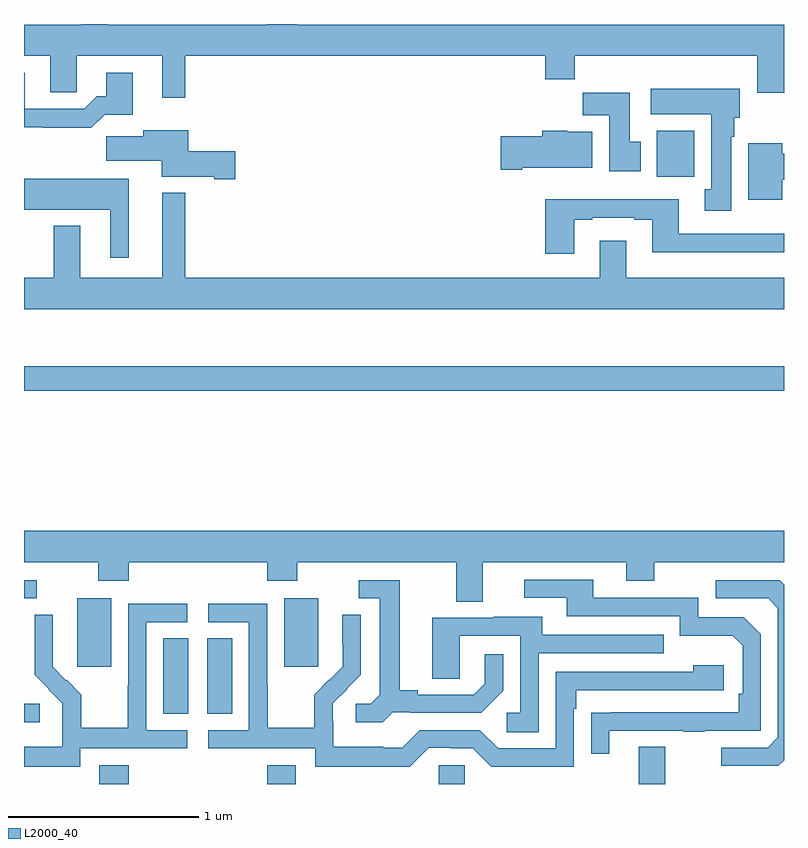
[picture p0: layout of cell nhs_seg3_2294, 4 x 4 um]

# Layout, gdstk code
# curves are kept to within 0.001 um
import gdstk
lib = gdstk.Library(unit=1e-6, precision=1e-09)
def R(c, l, rs):  # rectangles x0, y0, x1, y1
    for r in rs: c.add(gdstk.rectangle(r[:2], r[2:], *l))
def P(c, l, *ps):  # polygons
    for p in ps: c.add(gdstk.Polygon(p, *l))
L2000_40 = (2000, 40)

nhs_seg3_2294 = lib.new_cell('nhs_seg3_2294')
R(nhs_seg3_2294, L2000_40, [(229.397,714.4,229.55,714.499), (230.279,714.4,230.431,714.499), (231.183,714.4,231.321,714.498), (232.235,714.4,232.375,714.595), (229.733,714.769,229.864,715.166), (229.964,714.769,230.095,715.166), (229.28,715.017,229.459,715.378), (230.369,715.017,230.548,715.378), (229,715.377,229.066,715.473), (229,716.47,233,716.599), (232.331,717.596,232.528,717.838)])
P(nhs_seg3_2294, L2000_40, [(229.849,718.232),(231.743,718.232),(231.743,718.108),(231.899,718.108),(231.899,718.232),(232.859,718.232),(232.859,718.038),(233,718.038),(233,718.396),(230.438,718.396),(230.438,718.4),(230.278,718.4),(230.278,718.396),(229.441,718.396),(229.441,718.4),(229.301,718.4),(229.301,718.396),(229,718.396),(229,718.232),(229.139,718.232),(229.139,718.042),(229.278,718.042),(229.278,718.232),(229.727,718.232),(229.727,718.011),(229.849,718.011)],
  [(229.424,717.923),(229.573,717.923),(229.573,718.144),(229.433,718.144),(229.433,718.021),(229.384,718.021),(229.317,717.954),(229.003,717.954),(229.003,718.144),(229,718.144),(229,717.856),(229.099,717.856),(229.099,717.854),(229.355,717.854)],
  [(232.723,717.806),(232.738,717.806),(232.738,717.906),(232.768,717.906),(232.768,718.06),(232.299,718.06),(232.299,717.926),(232.616,717.926),(232.616,717.53),(232.583,717.53),(232.583,717.417),(232.723,717.417)],
  [(232.246,717.78),(232.189,717.78),(232.189,718.039),(231.94,718.039),(231.94,717.92),(232.079,717.92),(232.079,717.624),(232.246,717.624)],
  [(230.113,717.731),(229.864,717.731),(229.864,717.841),(229.628,717.841),(229.628,717.809),(229.434,717.809),(229.434,717.68),(229.724,717.68),(229.724,717.596),(230,717.596),(230,717.584),(230.113,717.584)],
  [(231.622,717.644),(231.991,717.644),(231.991,717.832),(231.858,717.832),(231.858,717.838),(231.728,717.838),(231.728,717.81),(231.51,717.81),(231.51,717.632),(231.622,717.632)],
  [(232.99,717.58),(233,717.58),(233,717.716),(232.99,717.716),(232.99,717.772),(232.811,717.772),(232.811,717.476),(232.99,717.476)],
  [(229.552,717.586),(229,717.586),(229,717.422),(229.454,717.422),(229.454,717.171),(229.552,717.171)],
  [(233,717.064),(232.171,717.064),(232.171,717.259),(232.031,717.259),(232.031,717.064),(229.849,717.064),(229.849,717.511),(229.727,717.511),(229.727,717.064),(229.297,717.064),(229.297,717.337),(229.157,717.337),(229.157,717.064),(229,717.064),(229,716.9),(233,716.9)],
  [(231.895,717.369),(231.991,717.369),(231.991,717.381),(232.211,717.381),(232.211,717.369),(232.307,717.369),(232.307,717.2),(233,717.2),(233,717.297),(232.447,717.297),(232.447,717.478),(231.743,717.478),(231.743,717.192),(231.895,717.192)],
  [(231.415,715.568),(232.169,715.568),(232.169,715.469),(232.317,715.469),(232.317,715.568),(233,715.568),(233,715.732),(229,715.732),(229,715.568),(229.39,715.568),(229.39,715.469),(229.55,715.469),(229.55,715.568),(230.279,715.568),(230.279,715.469),(230.439,715.469),(230.439,715.568),(231.275,715.568),(231.275,715.36),(231.415,715.36)],
  [(232.081,714.681),(232.471,714.681),(232.471,714.676),(232.583,714.676),(232.583,714.681),(232.878,714.681),(232.878,715.188),(232.788,715.278),(232.548,715.278),(232.548,715.38),(231.997,715.38),(231.997,715.476),(231.633,715.476),(231.633,715.38),(231.857,715.38),(231.857,715.284),(232.452,715.284),(232.452,715.181),(232.729,715.181),(232.782,715.128),(232.782,714.874),(232.762,714.874),(232.762,714.777),(231.985,714.776),(231.985,714.558),(232.081,714.558)],
  [(233,714.524),(233,715.45),(232.977,715.473),(232.641,715.473),(232.641,715.377),(232.917,715.377),(232.968,715.326),(232.968,714.645),(232.914,714.591),(232.671,714.591),(232.671,714.495),(232.971,714.495)],
  [(230.94,714.777),(231.034,714.777),(231.034,714.774),(231.406,714.774),(231.522,714.89),(231.522,715.084),(231.425,715.084),(231.425,714.927),(231.368,714.87),(231.073,714.87),(231.073,714.893),(230.977,714.893),(230.977,715.473),(230.763,715.473),(230.763,715.377),(230.873,715.377),(230.873,714.869),(230.826,714.822),(230.745,714.822),(230.745,714.725),(230.888,714.725)],
  [(229.296,714.588),(229.858,714.588),(229.858,714.684),(229.644,714.684),(229.644,715.251),(229.858,715.251),(229.858,715.35),(229.548,715.35),(229.548,714.92),(229.546,714.92),(229.546,714.697),(229.301,714.697),(229.301,714.871),(229.224,714.948),(229.221,714.945),(229.151,715.016),(229.152,715.292),(229.056,715.292),(229.056,714.974),(229.202,714.826),(229.202,714.729),(229.2,714.729),(229.2,714.595),(229,714.595),(229,714.491),(229.296,714.491)],
  [(231.129,714.591),(231.245,714.591),(231.245,714.588),(231.363,714.588),(231.459,714.492),(231.894,714.492),(231.894,714.797),(231.907,714.797),(231.907,714.894),(232.684,714.894),(232.684,715.024),(232.523,715.024),(232.523,714.99),(231.798,714.99),(231.798,714.588),(231.495,714.588),(231.399,714.684),(231.084,714.684),(230.991,714.591),(230.891,714.591),(230.891,714.595),(230.628,714.595),(230.628,714.729),(230.626,714.729),(230.626,714.826),(230.772,714.974),(230.772,715.292),(230.676,715.292),(230.676,715.138),(230.678,715.138),(230.678,715.016),(230.607,714.945),(230.604,714.948),(230.527,714.871),(230.527,714.697),(230.283,714.697),(230.283,714.92),(230.28,714.92),(230.28,715.35),(229.971,715.35),(229.971,715.251),(230.184,715.251),(230.184,714.684),(229.971,714.684),(229.971,714.588),(230.532,714.588),(230.532,714.491),(231.029,714.491)],
  [(231.708,715.089),(232.367,715.089),(232.367,715.185),(231.727,715.185),(231.727,715.279),(231.473,715.279),(231.473,715.275),(231.149,715.275),(231.149,714.955),(231.294,714.955),(231.294,715.179),(231.612,715.179),(231.612,714.774),(231.54,714.774),(231.54,714.673),(231.708,714.673)],
  [(229.084,714.822),(229.002,714.822),(229,714.824),(229,714.725),(229.084,714.725)])

lib.write_gds('nhs_seg3_2294.gds')
